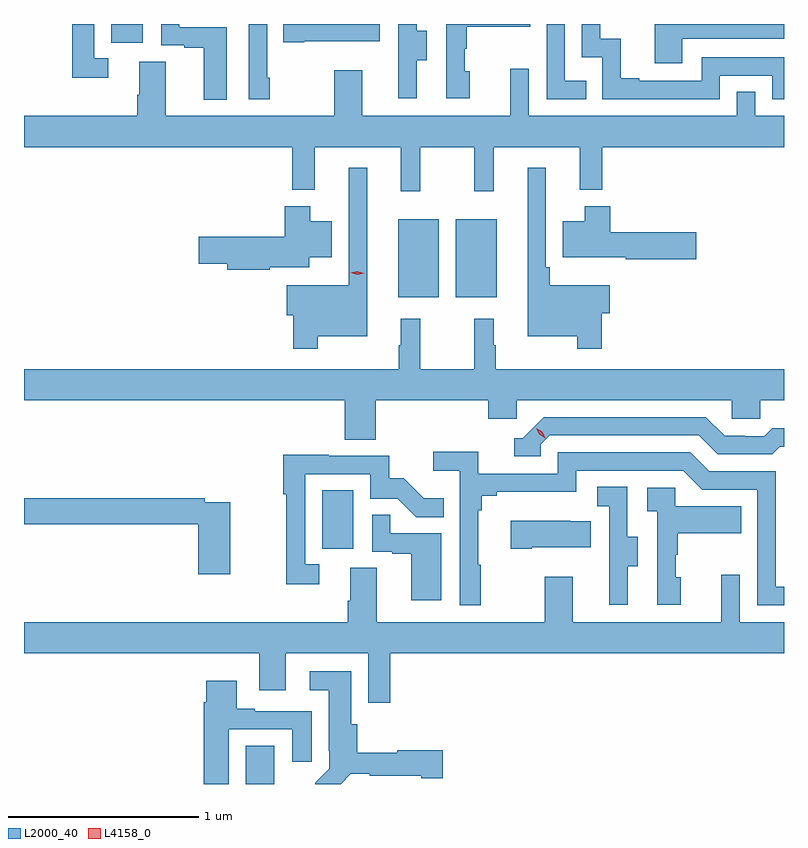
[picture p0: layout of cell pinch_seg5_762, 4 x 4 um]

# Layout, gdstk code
import gdstk
lib = gdstk.Library(unit=1e-6, precision=1e-09)
def R(c, l, rs):  # rectangles x0, y0, x1, y1
    for r in rs: c.add(gdstk.rectangle(r[:2], r[2:], *l))
def P(c, l, *ps):  # polygons
    for p in ps: c.add(gdstk.Polygon(p, *l))
L2000_40 = (2000, 40)
L4158_0 = (4158, 0)

pinch_seg5_762 = lib.new_cell('pinch_seg5_762')
R(pinch_seg5_762, L2000_40, [(831.806,898.696,831.955,898.898), (832.208,899.934,832.372,900.241), (832.607,901.259,832.822,901.669), (832.91,901.259,833.125,901.669), (831.098,902.598,831.262,902.696)])
P(pinch_seg5_762, L2000_40, [(832.984,902.448),(832.959,902.448),(832.959,902.567),(832.969,902.567),(832.969,902.681),(833.303,902.681),(833.303,902.696),(832.86,902.696),(832.86,902.304),(832.984,902.304)],
  [(832.705,902.506),(832.759,902.506),(832.759,902.661),(832.704,902.661),(832.704,902.696),(832.608,902.696),(832.608,902.517),(832.607,902.517),(832.607,902.304),(832.705,902.304)],
  [(832.114,902.606),(832.511,902.606),(832.511,902.696),(832.003,902.696),(832.003,902.599),(832.114,902.599)],
  [(831.706,902.679),(831.455,902.679),(831.455,902.696),(831.36,902.696),(831.36,902.583),(831.481,902.583),(831.481,902.571),(831.584,902.571),(831.584,902.297),(831.706,902.297)],
  [(834.3,902.424),(834.576,902.424),(834.576,902.301),(834.638,902.301),(834.638,902.52),(834.204,902.52),(834.204,902.397),(833.875,902.397),(833.875,902.41),(833.78,902.41),(833.78,902.618),(833.67,902.618),(833.67,902.696),(833.574,902.696),(833.574,902.52),(833.682,902.52),(833.682,902.301),(834.3,902.301)],
  [(831.082,902.517),(831.009,902.517),(831.009,902.696),(830.893,902.696),(830.893,902.412),(831.082,902.412)],
  [(834.103,902.619),(834.638,902.619),(834.638,902.696),(833.959,902.696),(833.959,902.49),(834.103,902.49)],
  [(831.931,902.413),(831.918,902.413),(831.918,902.696),(831.822,902.696),(831.822,902.301),(831.931,902.301)],
  [(833.597,902.397),(833.484,902.397),(833.484,902.696),(833.388,902.696),(833.388,902.301),(833.597,902.301)],
  [(831.385,902.498),(831.245,902.498),(831.245,902.324),(831.233,902.324),(831.233,902.212),(830.638,902.212),(830.638,902.048),(832.051,902.048),(832.051,901.823),(832.169,901.823),(832.169,902.048),(832.622,902.048),(832.622,901.815),(832.724,901.815),(832.724,902.048),(833.008,902.048),(833.008,901.815),(833.111,901.815),(833.111,902.048),(833.564,902.048),(833.564,901.823),(833.681,901.823),(833.681,902.048),(834.638,902.048),(834.638,902.212),(834.486,902.212),(834.486,902.339),(834.39,902.339),(834.39,902.212),(833.295,902.212),(833.295,902.461),(833.198,902.461),(833.198,902.212),(832.417,902.212),(832.417,902.452),(832.27,902.452),(832.27,902.212),(831.385,902.212)],
  [(832.183,901.052),(832.444,901.052),(832.444,901.939),(832.347,901.939),(832.347,901.321),(832.02,901.321),(832.02,901.163),(832.054,901.163),(832.054,900.987),(832.183,900.987)],
  [(833.678,901.174),(833.722,901.174),(833.722,901.321),(833.405,901.321),(833.405,901.417),(833.385,901.417),(833.385,901.939),(833.288,901.939),(833.288,901.052),(833.55,901.052),(833.55,900.987),(833.678,900.987)],
  [(831.932,901.415),(832.138,901.415),(832.138,901.469),(832.258,901.469),(832.258,901.657),(832.144,901.657),(832.144,901.738),(832.01,901.738),(832.01,901.575),(831.558,901.575),(831.558,901.433),(831.707,901.433),(831.707,901.403),(831.932,901.403)],
  [(834.175,901.599),(833.723,901.599),(833.723,901.738),(833.588,901.738),(833.588,901.657),(833.474,901.657),(833.474,901.469),(833.806,901.469),(833.806,901.457),(834.175,901.457)],
  [(833.008,901.144),(833.008,900.88),(832.724,900.88),(832.724,901.144),(832.622,901.144),(832.622,901.004),(832.611,901.004),(832.611,900.88),(830.638,900.88),(830.638,900.716),(832.325,900.716),(832.325,900.508),(832.49,900.508),(832.49,900.716),(833.081,900.716),(833.081,900.618),(833.232,900.618),(833.232,900.716),(834.363,900.716),(834.363,900.618),(834.513,900.618),(834.513,900.716),(834.638,900.716),(834.638,900.88),(833.122,900.88),(833.122,901.004),(833.11,901.004),(833.11,901.144)],
  [(833.358,900.483),(833.406,900.531),(834.189,900.531),(834.288,900.432),(834.577,900.432),(834.616,900.471),(834.638,900.471),(834.638,900.568),(834.577,900.568),(834.535,900.525),(834.432,900.525),(834.432,900.528),(834.325,900.528),(834.226,900.627),(833.373,900.627),(833.262,900.516),(833.219,900.516),(833.219,900.42),(833.358,900.42)],
  [(833.041,899.849),(833.029,899.849),(833.029,900.137),(833.048,900.137),(833.048,900.214),(833.125,900.214),(833.125,900.233),(833.544,900.233),(833.544,900.345),(834.108,900.345),(834.207,900.246),(834.498,900.246),(834.498,899.637),(834.638,899.637),(834.638,899.733),(834.594,899.733),(834.594,900.342),(834.244,900.342),(834.145,900.441),(833.448,900.441),(833.448,900.33),(833.03,900.33),(833.03,900.446),(832.791,900.446),(832.791,900.344),(832.932,900.344),(832.932,899.637),(833.041,899.637)],
  [(832.192,899.853),(832.119,899.853),(832.119,900.327),(832.461,900.327),(832.461,900.198),(832.605,900.198),(832.703,900.1),(832.847,900.1),(832.847,900.199),(832.743,900.199),(832.636,900.306),(832.56,900.306),(832.56,900.423),(832.241,900.423),(832.241,900.428),(832.003,900.428),(832.003,900.22),(832.018,900.22),(832.018,899.748),(832.192,899.748)],
  [(833.815,899.842),(833.869,899.842),(833.869,899.997),(833.814,899.997),(833.814,900.26),(833.655,900.26),(833.655,900.157),(833.718,900.157),(833.718,899.853),(833.717,899.853),(833.717,899.64),(833.815,899.64)],
  [(834.094,899.784),(834.069,899.784),(834.069,899.903),(834.079,899.903),(834.079,900.017),(834.413,900.017),(834.413,900.157),(834.066,900.157),(834.066,900.255),(833.919,900.255),(833.919,900.131),(833.97,900.131),(833.97,899.64),(834.094,899.64)],
  [(831.724,900.18),(831.59,900.18),(831.59,900.2),(830.638,900.2),(830.638,900.064),(831.554,900.064),(831.554,899.799),(831.724,899.799)],
  [(832.834,900.015),(832.565,900.015),(832.565,900.113),(832.47,900.113),(832.47,899.919),(832.577,899.919),(832.577,899.907),(832.676,899.907),(832.676,899.664),(832.834,899.664)],
  [(833.311,899.942),(833.621,899.942),(833.621,900.079),(833.513,900.079),(833.513,900.082),(833.199,900.082),(833.199,899.935),(833.311,899.935)],
  [(832.565,899.384),(834.638,899.384),(834.638,899.548),(834.405,899.548),(834.405,899.797),(834.308,899.797),(834.308,899.548),(833.527,899.548),(833.527,899.788),(833.38,899.788),(833.38,899.548),(832.495,899.548),(832.495,899.834),(832.355,899.834),(832.355,899.66),(832.343,899.66),(832.343,899.548),(830.638,899.548),(830.638,899.384),(831.875,899.384),(831.875,899.19),(832.015,899.19),(832.015,899.384),(832.449,899.384),(832.449,899.124),(832.565,899.124)],
  [(832.359,898.751),(832.458,898.751),(832.458,898.739),(832.73,898.739),(832.73,898.727),(832.843,898.727),(832.843,898.874),(832.602,898.874),(832.602,898.861),(832.391,898.861),(832.391,899.01),(832.36,899.01),(832.36,899.29),(832.143,899.29),(832.143,899.189),(832.241,899.189),(832.241,898.87),(832.245,898.87),(832.245,898.776),(832.171,898.702),(832.171,898.696),(832.305,898.696)],
  [(831.715,898.983),(832.049,898.983),(832.049,898.812),(832.153,898.812),(832.153,899.079),(831.853,899.079),(831.853,899.092),(831.757,899.092),(831.757,899.239),(831.596,899.239),(831.596,899.126),(831.584,899.126),(831.584,898.696),(831.715,898.696)])
P(pinch_seg5_762, L4158_0, [(833.382,900.516),(833.351,900.536),(833.334,900.568),(833.334,900.569),(833.334,900.569),(833.365,900.549),(833.382,900.517),(833.382,900.516)],
  [(832.392,901.375),(832.358,901.386),(832.357,901.386),(832.358,901.386),(832.393,901.395),(832.428,901.383),(832.428,901.383),(832.428,901.383)])

lib.write_gds('pinch_seg5_762.gds')
